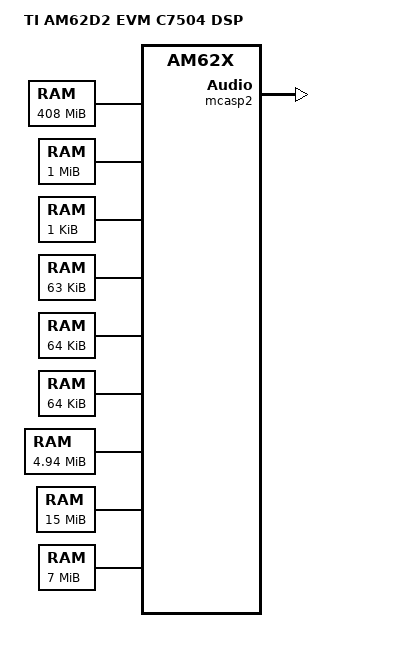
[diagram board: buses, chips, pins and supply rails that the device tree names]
/*
 * Copyright (c) 2025-2026 Texas Instruments Incorporated
 * SPDX-License-Identifier: Apache-2.0
 */

/dts-v1/;

#include <ti/ti_am62x_c7504.dtsi>
#include <zephyr/dt-bindings/interrupt-controller/ti-c7x-clec.h>

/ {
	model = "TI AM62D2 EVM C7504 DSP";
	compatible = "ti,am62d2-evm";

	chosen {
		zephyr,sram = &ddr_fw;
		zephyr,flash = &ddr_fw;
		zephyr,console = &main_uart0;
		zephyr,shell-uart = &main_uart0;
		zephyr,ipc = &ipc0;
		zephyr,ipc_shm = &ddr_ipc;
	};

	/* A53 DDR: declared, never allocated into, so a stray placement fails the link */
	ddr0_reserved: memory@80000000 {
		compatible = "zephyr,memory-region", "mmio-sram";
		reg = <0x00 0x80000000 0x00 0x19800000>;
		zephyr,memory-region = "DDR0_RESERVED";
		zephyr,memory-region-flags = "";
	};

	ddr_ipc: memory@99800000 {
		compatible = "zephyr,memory-region", "mmio-sram";
		reg = <0x00 0x99800000 0x00 0x00100000>;
		zephyr,memory-region = "IPC_VRING";
		zephyr,memory-region-flags = "rw";
	};

	rsc_table: memory@99900000 {
		compatible = "zephyr,memory-region", "mmio-sram";
		reg = <0x00 0x99900000 0x00 0x00000400>;
		zephyr,memory-region = "IPC_RSC";
		zephyr,memory-region-flags = "rw";
	};

	trace_buf: memory@99900400 {
		compatible = "zephyr,memory-region", "mmio-sram";
		reg = <0x00 0x99900400 0x00 0x0000fc00>;
		zephyr,memory-region = "TRACE";
		zephyr,memory-region-flags = "rw";
	};

	diag_band: memory@99910000 {
		compatible = "zephyr,memory-region", "mmio-sram";
		reg = <0x00 0x99910000 0x00 0x00010000>;
		zephyr,memory-region = "DIAG";
		zephyr,memory-region-flags = "rw";
	};

	vectors: memory@99c00000 {
		compatible = "zephyr,memory-region", "mmio-sram";
		reg = <0x00 0x99c00000 0x00 0x00010000>;
		zephyr,memory-region = "VECTORS";
		zephyr,memory-region-flags = "rx";
	};

	fw_sram: memory@99c10000 {
		compatible = "zephyr,memory-region", "mmio-sram";
		reg = <0x00 0x99c10000 0x00 0x004f0000>;
		zephyr,memory-region = "SRAM";
		zephyr,memory-region-flags = "rwx";
	};

	/* firmware DDR past the resource table page */
	ddr_fw: memory@99901000 {
		compatible = "mmio-sram";
		reg = <0x00 0x99901000 0x00 0x00eff000>;
	};

	stacks: memory@9a100000 {
		compatible = "zephyr,memory-region", "mmio-sram";
		reg = <0x00 0x9a100000 0x00 0x00700000>;
		zephyr,memory-region = "STACKS";
		zephyr,memory-region-flags = "rw";
	};

	ipc0: ipc0 {
		compatible = "zephyr,ipc-openamp-static-vrings";
		memory-region = <&ddr_ipc>;
		mboxes = <&mailbox_c7x 1>, <&mailbox_c7x 0>;
		mbox-names = "rx", "tx";
		role = "remote";
		status = "okay";
	};
};

/* k3-am62d2-evm.dts &mcasp2, plus the C7x clock request */
&mcasp2 {
	status = "okay";
	#sound-dai-cells = <0>;

	clocks = <&k3_clks 192 0>;
	assigned-clocks = <&k3_clks 192 0>;
	assigned-clock-parents = <&k3_clks 192 2>;
	assigned-clock-rates = <320000000>;

	op-mode = <0>;          /* MCASP_IIS_MODE */
	tdm-slots = <2>;
	tdm-slots-rx = <8>;
	ti,async-mode;
	serial-dir = <
	       1 1 0 1
	       1 0 0 0
	       0 0 0 0
	       0 0 2 0
	>;
	/* TI RTOS SDK norm; the Linux EVM leaves both absent (AFIFO off). */
	tx-num-evt = <32>;
	rx-num-evt = <32>;
};
